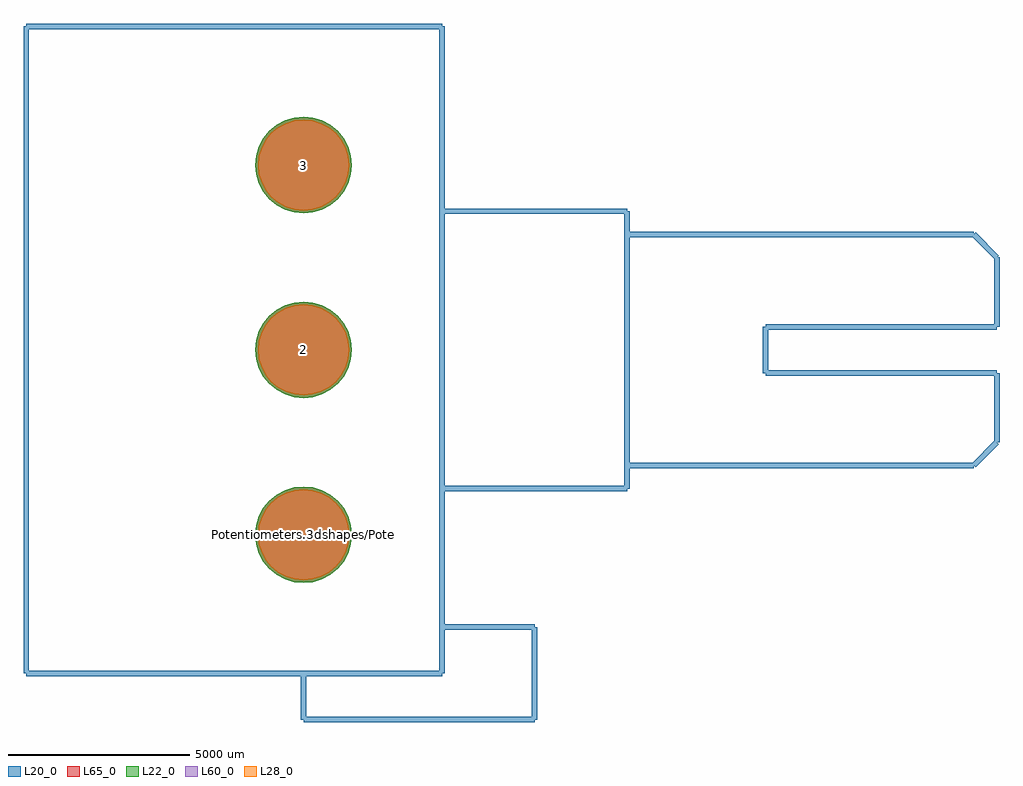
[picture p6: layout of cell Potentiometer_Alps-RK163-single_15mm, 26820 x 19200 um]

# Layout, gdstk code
import gdstk
lib = gdstk.Library(unit=1e-6, precision=1e-09)
def P(c, l, *ps):  # polygons
    for p in ps: c.add(gdstk.Polygon(p, *l))
L20_0 = (20, 0)
L22_0 = (22, 0)
L28_0 = (28, 0)
L60_0 = (60, 0)
L65_0 = (65, 0)

potentiometer_alps_rk163 = lib.new_cell('Potentiometer_Alps-RK163-single_15mm')
P(potentiometer_alps_rk163, L22_0, [(1324.68,0),(1299.227,258.432),(1223.845,506.933),(1101.431,735.953),(936.69,936.69),(735.953,1101.431),(506.933,1223.845),(258.432,1299.227),(0,1324.68),(-258.432,1299.227),(-506.933,1223.845),(-735.953,1101.431),(-936.69,936.69),(-1101.431,735.953),(-1223.845,506.933),(-1299.227,258.432),(-1324.68,0),(-1299.227,-258.432),(-1223.845,-506.933),(-1101.431,-735.953),(-936.69,-936.69),(-735.953,-1101.431),(-506.933,-1223.845),(-258.432,-1299.227),(0,-1324.68),(258.432,-1299.227),(506.933,-1223.845),(735.953,-1101.431),(936.69,-936.69),(1101.431,-735.953),(1223.845,-506.933),(1299.227,-258.432)],
  [(1324.68,10160),(1299.227,10418.432),(1223.845,10666.933),(1101.431,10895.953),(936.69,11096.69),(735.953,11261.431),(506.933,11383.845),(258.432,11459.227),(0,11484.68),(-258.432,11459.227),(-506.933,11383.845),(-735.953,11261.431),(-936.69,11096.69),(-1101.431,10895.953),(-1223.845,10666.933),(-1299.227,10418.432),(-1324.68,10160),(-1299.227,9901.568),(-1223.845,9653.067),(-1101.431,9424.047),(-936.69,9223.31),(-735.953,9058.569),(-506.933,8936.155),(-258.432,8860.773),(0,8835.32),(258.432,8860.773),(506.933,8936.155),(735.953,9058.569),(936.69,9223.31),(1101.431,9424.047),(1223.845,9653.067),(1299.227,9901.568)],
  [(1324.68,5080),(1299.227,5338.432),(1223.845,5586.933),(1101.431,5815.953),(936.69,6016.69),(735.953,6181.431),(506.933,6303.845),(258.432,6379.227),(0,6404.68),(-258.432,6379.227),(-506.933,6303.845),(-735.953,6181.431),(-936.69,6016.69),(-1101.431,5815.953),(-1223.845,5586.933),(-1299.227,5338.432),(-1324.68,5080),(-1299.227,4821.568),(-1223.845,4573.067),(-1101.431,4344.047),(-936.69,4143.31),(-735.953,3978.569),(-506.933,3856.155),(-258.432,3780.773),(0,3755.32),(258.432,3780.773),(506.933,3856.155),(735.953,3978.569),(936.69,4143.31),(1101.431,4344.047),(1223.845,4573.067),(1299.227,4821.568)])
P(potentiometer_alps_rk163, L28_0, [(1249.68,0),(1225.668,243.8),(1154.554,478.232),(1039.071,694.285),(883.657,883.657),(694.285,1039.071),(478.232,1154.554),(243.8,1225.668),(0,1249.68),(-243.8,1225.668),(-478.232,1154.554),(-694.285,1039.071),(-883.657,883.657),(-1039.071,694.285),(-1154.554,478.232),(-1225.668,243.8),(-1249.68,0),(-1225.668,-243.8),(-1154.554,-478.232),(-1039.071,-694.285),(-883.657,-883.657),(-694.285,-1039.071),(-478.232,-1154.554),(-243.8,-1225.668),(0,-1249.68),(243.8,-1225.668),(478.232,-1154.554),(694.285,-1039.071),(883.657,-883.657),(1039.071,-694.285),(1154.554,-478.232),(1225.668,-243.8)],
  [(1249.68,10160),(1225.668,10403.8),(1154.554,10638.232),(1039.071,10854.285),(883.657,11043.657),(694.285,11199.071),(478.232,11314.554),(243.8,11385.668),(0,11409.68),(-243.8,11385.668),(-478.232,11314.554),(-694.285,11199.071),(-883.657,11043.657),(-1039.071,10854.285),(-1154.554,10638.232),(-1225.668,10403.8),(-1249.68,10160),(-1225.668,9916.2),(-1154.554,9681.768),(-1039.071,9465.715),(-883.657,9276.343),(-694.285,9120.929),(-478.232,9005.446),(-243.8,8934.332),(0,8910.32),(243.8,8934.332),(478.232,9005.446),(694.285,9120.929),(883.657,9276.343),(1039.071,9465.715),(1154.554,9681.768),(1225.668,9916.2)],
  [(1249.68,5080),(1225.668,5323.8),(1154.554,5558.232),(1039.071,5774.285),(883.657,5963.657),(694.285,6119.071),(478.232,6234.554),(243.8,6305.668),(0,6329.68),(-243.8,6305.668),(-478.232,6234.554),(-694.285,6119.071),(-883.657,5963.657),(-1039.071,5774.285),(-1154.554,5558.232),(-1225.668,5323.8),(-1249.68,5080),(-1225.668,4836.2),(-1154.554,4601.768),(-1039.071,4385.715),(-883.657,4196.343),(-694.285,4040.929),(-478.232,3925.446),(-243.8,3854.332),(0,3830.32),(243.8,3854.332),(478.232,3925.446),(694.285,4040.929),(883.657,4196.343),(1039.071,4385.715),(1154.554,4601.768),(1225.668,4836.2)])
P(potentiometer_alps_rk163, L60_0, [(1249.68,0),(1225.668,243.8),(1154.554,478.232),(1039.071,694.285),(883.657,883.657),(694.285,1039.071),(478.232,1154.554),(243.8,1225.668),(0,1249.68),(-243.8,1225.668),(-478.232,1154.554),(-694.285,1039.071),(-883.657,883.657),(-1039.071,694.285),(-1154.554,478.232),(-1225.668,243.8),(-1249.68,0),(-1225.668,-243.8),(-1154.554,-478.232),(-1039.071,-694.285),(-883.657,-883.657),(-694.285,-1039.071),(-478.232,-1154.554),(-243.8,-1225.668),(0,-1249.68),(243.8,-1225.668),(478.232,-1154.554),(694.285,-1039.071),(883.657,-883.657),(1039.071,-694.285),(1154.554,-478.232),(1225.668,-243.8)],
  [(1249.68,10160),(1225.668,10403.8),(1154.554,10638.232),(1039.071,10854.285),(883.657,11043.657),(694.285,11199.071),(478.232,11314.554),(243.8,11385.668),(0,11409.68),(-243.8,11385.668),(-478.232,11314.554),(-694.285,11199.071),(-883.657,11043.657),(-1039.071,10854.285),(-1154.554,10638.232),(-1225.668,10403.8),(-1249.68,10160),(-1225.668,9916.2),(-1154.554,9681.768),(-1039.071,9465.715),(-883.657,9276.343),(-694.285,9120.929),(-478.232,9005.446),(-243.8,8934.332),(0,8910.32),(243.8,8934.332),(478.232,9005.446),(694.285,9120.929),(883.657,9276.343),(1039.071,9465.715),(1154.554,9681.768),(1225.668,9916.2)],
  [(1249.68,5080),(1225.668,5323.8),(1154.554,5558.232),(1039.071,5774.285),(883.657,5963.657),(694.285,6119.071),(478.232,6234.554),(243.8,6305.668),(0,6329.68),(-243.8,6305.668),(-478.232,6234.554),(-694.285,6119.071),(-883.657,5963.657),(-1039.071,5774.285),(-1154.554,5558.232),(-1225.668,5323.8),(-1249.68,5080),(-1225.668,4836.2),(-1154.554,4601.768),(-1039.071,4385.715),(-883.657,4196.343),(-694.285,4040.929),(-478.232,3925.446),(-243.8,3854.332),(0,3830.32),(243.8,3854.332),(478.232,3925.446),(694.285,4040.929),(883.657,4196.343),(1039.071,4385.715),(1154.554,4601.768),(1225.668,4836.2)])
P(potentiometer_alps_rk163, L65_0, [(1324.68,0),(1299.227,258.432),(1223.845,506.933),(1101.431,735.953),(936.69,936.69),(735.953,1101.431),(506.933,1223.845),(258.432,1299.227),(0,1324.68),(-258.432,1299.227),(-506.933,1223.845),(-735.953,1101.431),(-936.69,936.69),(-1101.431,735.953),(-1223.845,506.933),(-1299.227,258.432),(-1324.68,0),(-1299.227,-258.432),(-1223.845,-506.933),(-1101.431,-735.953),(-936.69,-936.69),(-735.953,-1101.431),(-506.933,-1223.845),(-258.432,-1299.227),(0,-1324.68),(258.432,-1299.227),(506.933,-1223.845),(735.953,-1101.431),(936.69,-936.69),(1101.431,-735.953),(1223.845,-506.933),(1299.227,-258.432)],
  [(1324.68,10160),(1299.227,10418.432),(1223.845,10666.933),(1101.431,10895.953),(936.69,11096.69),(735.953,11261.431),(506.933,11383.845),(258.432,11459.227),(0,11484.68),(-258.432,11459.227),(-506.933,11383.845),(-735.953,11261.431),(-936.69,11096.69),(-1101.431,10895.953),(-1223.845,10666.933),(-1299.227,10418.432),(-1324.68,10160),(-1299.227,9901.568),(-1223.845,9653.067),(-1101.431,9424.047),(-936.69,9223.31),(-735.953,9058.569),(-506.933,8936.155),(-258.432,8860.773),(0,8835.32),(258.432,8860.773),(506.933,8936.155),(735.953,9058.569),(936.69,9223.31),(1101.431,9424.047),(1223.845,9653.067),(1299.227,9901.568)],
  [(1324.68,5080),(1299.227,5338.432),(1223.845,5586.933),(1101.431,5815.953),(936.69,6016.69),(735.953,6181.431),(506.933,6303.845),(258.432,6379.227),(0,6404.68),(-258.432,6379.227),(-506.933,6303.845),(-735.953,6181.431),(-936.69,6016.69),(-1101.431,5815.953),(-1223.845,5586.933),(-1299.227,5338.432),(-1324.68,5080),(-1299.227,4821.568),(-1223.845,4573.067),(-1101.431,4344.047),(-936.69,4143.31),(-735.953,3978.569),(-506.933,3856.155),(-258.432,3780.773),(0,3755.32),(258.432,3780.773),(506.933,3856.155),(735.953,3978.569),(936.69,4143.31),(1101.431,4344.047),(1223.845,4573.067),(1299.227,4821.568)])
potentiometer_alps_rk163.add(gdstk.FlexPath([(-7620,13970),(3810,13970)], 149.998, ends="flush", simple_path=True, layer=20, datatype=0))  # L20_0
potentiometer_alps_rk163.add(gdstk.FlexPath([(-7620,-3810),(-7620,13970)], 149.998, ends="flush", simple_path=True, layer=20, datatype=0))  # L20_0
potentiometer_alps_rk163.add(gdstk.FlexPath([(3810,-3810),(-7620,-3810)], 149.998, ends="flush", simple_path=True, layer=20, datatype=0))  # L20_0
potentiometer_alps_rk163.add(gdstk.FlexPath([(3810,13970),(3810,-3810)], 149.998, ends="flush", simple_path=True, layer=20, datatype=0))  # L20_0
potentiometer_alps_rk163.add(gdstk.FlexPath([(8890,1270),(3810,1270)], 149.998, ends="flush", simple_path=True, layer=20, datatype=0))  # L20_0
potentiometer_alps_rk163.add(gdstk.FlexPath([(8890,8890),(8890,1270)], 149.998, ends="flush", simple_path=True, layer=20, datatype=0))  # L20_0
potentiometer_alps_rk163.add(gdstk.FlexPath([(3810,8890),(8890,8890)], 149.998, ends="flush", simple_path=True, layer=20, datatype=0))  # L20_0
potentiometer_alps_rk163.add(gdstk.FlexPath([(18415,1905),(8890,1905)], 149.998, ends="flush", simple_path=True, layer=20, datatype=0))  # L20_0
potentiometer_alps_rk163.add(gdstk.FlexPath([(19050,2540),(18415,1905)], 149.998, ends="flush", simple_path=True, layer=20, datatype=0))  # L20_0
potentiometer_alps_rk163.add(gdstk.FlexPath([(18415,8255),(19050,7620)], 149.998, ends="flush", simple_path=True, layer=20, datatype=0))  # L20_0
potentiometer_alps_rk163.add(gdstk.FlexPath([(8890,8255),(18415,8255)], 149.998, ends="flush", simple_path=True, layer=20, datatype=0))  # L20_0
potentiometer_alps_rk163.add(gdstk.FlexPath([(19050,5715),(12700,5715)], 149.998, ends="flush", simple_path=True, layer=20, datatype=0))  # L20_0
potentiometer_alps_rk163.add(gdstk.FlexPath([(12700,4445),(19050,4445)], 149.998, ends="flush", simple_path=True, layer=20, datatype=0))  # L20_0
potentiometer_alps_rk163.add(gdstk.FlexPath([(0,-5080),(0,-3810)], 149.998, ends="flush", simple_path=True, layer=20, datatype=0))  # L20_0
potentiometer_alps_rk163.add(gdstk.FlexPath([(6350,-2540),(3810,-2540)], 149.998, ends="flush", simple_path=True, layer=20, datatype=0))  # L20_0
potentiometer_alps_rk163.add(gdstk.FlexPath([(6350,-5080),(6350,-2540)], 149.998, ends="flush", simple_path=True, layer=20, datatype=0))  # L20_0
potentiometer_alps_rk163.add(gdstk.FlexPath([(0,-5080),(6350,-5080)], 149.998, ends="flush", simple_path=True, layer=20, datatype=0))  # L20_0
potentiometer_alps_rk163.add(gdstk.FlexPath([(12700,5715),(12700,4445)], 149.998, ends="flush", simple_path=True, layer=20, datatype=0))  # L20_0
potentiometer_alps_rk163.add(gdstk.FlexPath([(19050,2540),(19050,4445)], 149.998, ends="flush", simple_path=True, layer=20, datatype=0))  # L20_0
potentiometer_alps_rk163.add(gdstk.FlexPath([(19050,5715),(19050,7620)], 149.998, ends="flush", simple_path=True, layer=20, datatype=0))  # L20_0
potentiometer_alps_rk163.add(gdstk.Label('Potentiometers.3dshapes/Potentiometer_Alps-RK163-single_15mm.wrl', (0,0), layer=12, texttype=0))
potentiometer_alps_rk163.add(gdstk.Label('1', (0,0), layer=28, texttype=0))
potentiometer_alps_rk163.add(gdstk.Label('3', (0,10160), layer=28, texttype=0))
potentiometer_alps_rk163.add(gdstk.Label('2', (0,5080), layer=28, texttype=0))
potentiometer_alps_rk163.add(gdstk.Label('type', (0,-7620), layer=9, texttype=0))
potentiometer_alps_rk163.add(gdstk.Label('devicename', (0,16510), layer=9, texttype=0))

lib.write_gds('Potentiometer_Alps-RK163-single_15mm.gds')
